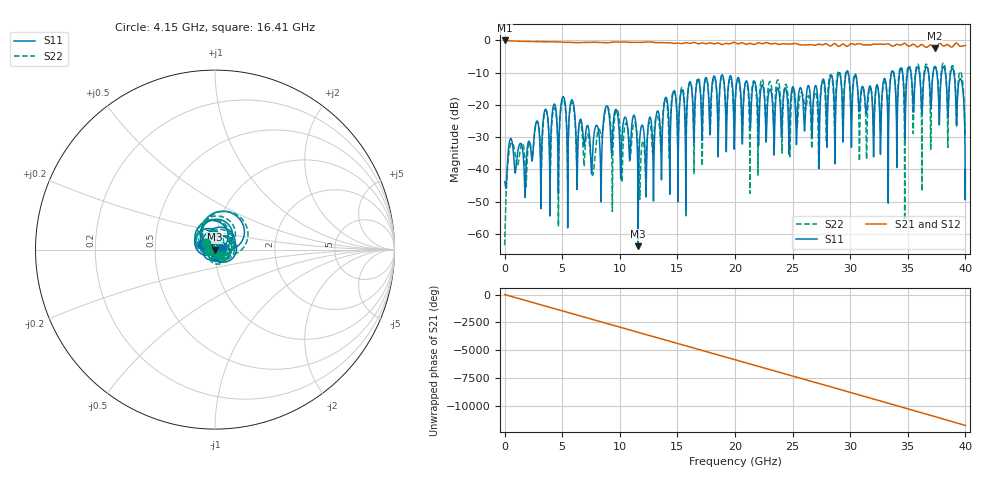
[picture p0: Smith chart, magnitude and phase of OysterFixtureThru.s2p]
# MHz MA S R 50.0
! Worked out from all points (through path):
!   8000 points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, 5 MHz to 40 GHz, reference 50 ohm
!   highest |S21| = -0.03 dB at 5 MHz (marker M1); lowest = -2.5 dB at 37.34 GHz (marker M2)
!   group delay of S21, straight-line fit = 816 ps
!   lowest |S11| = -63.8 dB at 11.6 GHz (marker M3), VSWR 1.00, Z = 49.9 + j0.0233 ohm
!   |S11| at or under -10 dB: start of sweep to 29.66 GHz; 29.83 GHz to 33.6 GHz (3.773 GHz wide, 11.9 % of centre); 39 GHz to end of sweep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
!   |S22| runs from -63.6 to -7.0 dB; largest |S21 - S12| = 0.024
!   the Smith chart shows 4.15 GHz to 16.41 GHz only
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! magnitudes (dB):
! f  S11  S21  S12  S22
! 5 MHz  -43.8  0.0  0.0  -63.6
! 595 MHz  -30.7  -0.2  -0.2  -31.8
! 1.78 GHz  -48.7  -0.3  -0.3  -38.2
! 3.54 GHz  -21.4  -0.4  -0.4  -21.9
! 4.69 GHz  -40.3  -0.5  -0.5  -42.8
! 5.08 GHz  -17.5  -0.6  -0.6  -18.2
! 6.675 GHz  -25.1  -0.7  -0.7  -26.7
! 7.675 GHz  -32.6  -0.6  -0.6  -41.7
! 8.92 GHz  -20.5  -0.8  -0.7  -20.5
! 11.25 GHz  -23.2  -0.6  -0.6  -25.5
! 11.6 GHz  -63.8  -0.7  -0.7  -33.4
! 13.34 GHz  -22.1  -0.7  -0.7  -24.2
! 16.8 GHz  -12.2  -1.1  -1.1  -11.6
! 20 GHz  -21.2  -0.7  -0.7  -19.7
! 26.67 GHz  -29.7  -1.3  -1.4  -33.1
! 29 GHz  -10.1  -1.9  -1.9  -9.6
! 31.41 GHz  -22.5  -1.4  -1.4  -34.7
! 33.34 GHz  -27.3  -1.1  -1.2  -19.8
! 33.67 GHz  -9.5  -1.8  -1.9  -9.3
! 37.34 GHz  -8.2  -2.5  -2.5  -8.1
! 39.62 GHz  -12.1  -1.9  -1.9  -9.9
! 40 GHz  -40.0  -1.6  -1.4  -29.4
